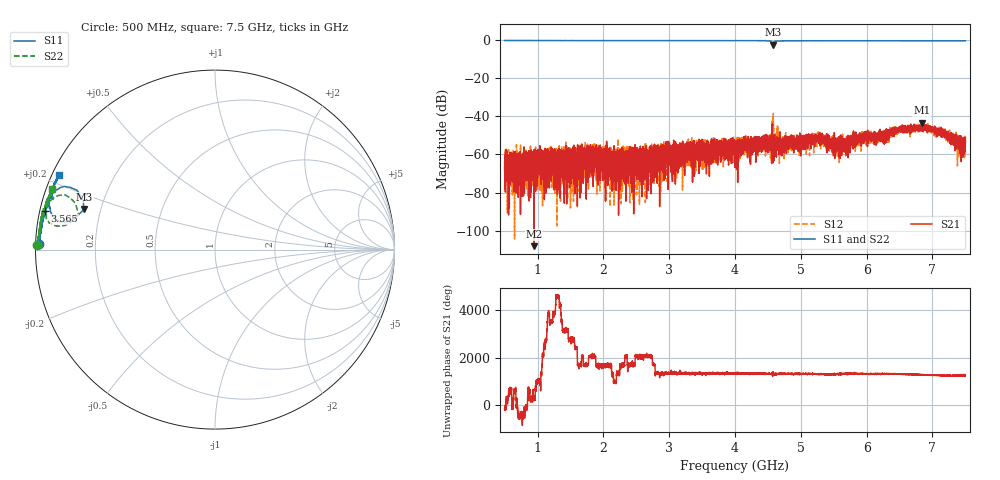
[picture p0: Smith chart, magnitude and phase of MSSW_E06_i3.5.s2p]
!Keysight Technologies,M9374A,MY55442783,A.12.55.05
!Date: Thursday, May 20, 2021 14:37:58
!Correction: S11(Full 2 Port(1,2))
!S21(Full 2 Port(1,2))
!S12(Full 2 Port(1,2))
!S22(Full 2 Port(1,2))
!S2P File: Measurements: S11, S21, S12, S22:
# Hz S  RI  R 50
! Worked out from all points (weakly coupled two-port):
!   7001 points, 500 MHz to 7.5 GHz, reference 50 ohm
!   highest |S21| = -43.38 dB at 6.837 GHz (marker M1); lowest = -108.1 dB at 948 MHz (marker M2)
!   lowest |S11| = -2.4 dB at 4.572 GHz (marker M3), VSWR 7.43, Z = 6.88 + j7.43 ohm
!   |S11| at or under -10 dB: nowhere
!   |S22| runs from -2.1 to -0.1 dB; largest |S21 - S12| = 0.011
!   S11 on the Smith chart (normalised r, x): 500 MHz: 0.01, +0.02; 3.565 GHz: 0.01, +0.11; 7.5 GHz: 0.02, +0.23
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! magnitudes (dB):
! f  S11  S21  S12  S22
! 500 MHz  -0.2  -67.3  -64.8  -0.1
! 575 MHz  -0.2  -67.0  -66.1  -0.1
! 948 MHz  -0.2  -108.1  -58.1  -0.1
! 1.196 GHz  -0.2  -61.5  -62.2  -0.1
! 1.276 GHz  -0.2  -58.1  -63.2  -0.1
! 1.348 GHz  -0.2  -57.6  -63.2  -0.1
! 1.667 GHz  -0.2  -59.1  -59.8  -0.1
! 1.92 GHz  -0.2  -60.3  -60.6  -0.1
! 2.306 GHz  -0.2  -71.6  -68.5  -0.1
! 2.834 GHz  -0.2  -62.0  -57.6  -0.1
! 3.565 GHz  -0.2  -56.6  -57.3  -0.2
! 4 GHz  -0.2  -55.0  -56.9  -0.2
! 4.522 GHz  -0.4  -52.7  -53.5  -0.3
! 4.572 GHz  -2.4  -51.4  -41.7  -2.1
! 4.698 GHz  -0.4  -60.3  -56.2  -0.3
! 5.167 GHz  -0.3  -50.5  -49.2  -0.2
! 5.616 GHz  -0.3  -57.9  -57.2  -0.2
! 6.334 GHz  -0.3  -50.3  -48.6  -0.2
! 6.837 GHz  -0.3  -43.4  -44.7  -0.3
! 7.212 GHz  -0.3  -50.9  -48.9  -0.2
! 7.456 GHz  -0.3  -57.0  -52.7  -0.3
! 7.5 GHz  -0.3  -51.1  -59.6  -0.3
